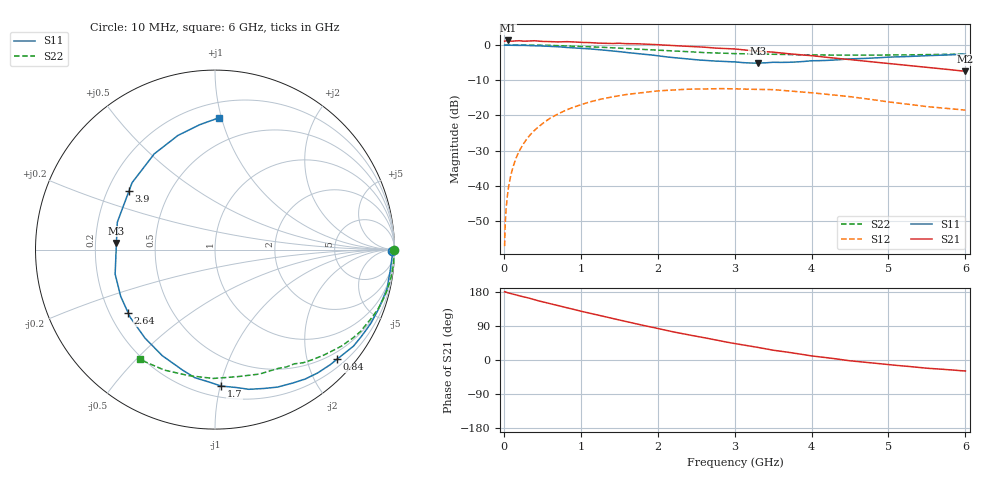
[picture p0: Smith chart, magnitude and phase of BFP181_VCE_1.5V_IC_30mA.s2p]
! Infineon Technologies  Discrete & RF Semiconductors
! BFP181
! VCE = 1.5 V,  IC =  30 mA
! Common Emitter S-Parameters:  Jan 2016
# GHz  S  MA  R  50
!  f  S11  S21  S12  S22
! GHz  MAG  ANG  MAG  ANG  MAG  ANG  MAG  ANG
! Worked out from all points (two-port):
!   210 points, 10 MHz to 6 GHz, reference 50 ohm
!   highest |S21| = 1.23 dB at 50 MHz (marker M1); lowest = -7.5 dB at 6 GHz (marker M2)
!   |S21| within 3 dB of the highest: start of sweep to 3.28 GHz
!   lowest |S11| = -5.2 dB at 3.3 GHz (marker M3), VSWR 3.45, Z = 14.5 + j1.52 ohm
!   |S11| at or under -10 dB: nowhere
!   |S22| runs from -2.9 to 0.0 dB; largest |S21 - S12| = 1.2
!   S11 on the Smith chart (normalised r, x): 10 MHz: open; 840 MHz: 0.35, -2.56; 1.7 GHz: 0.28, -1.01; 2.64 GHz: 0.28, -0.30; 3.9 GHz: 0.29, +0.29; 6 GHz: 0.31, +0.99
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0.01  0.9871 -0.6  1.124 179.9  0.0014 87.6  0.9997 -0.2
0.015  0.9867 -0.8  1.128 179.8  0.0023 87.7  0.9994 -0.3
0.025  0.9865 -1.3  1.136 179.3  0.004 89.3  0.9991 -0.6
0.05  0.9876 -2.3  1.152 177.5  0.0079 92.4  0.9985 -1.3
0.09  0.9848 -4.5  1.13 175.4  0.014 85.4  0.9984 -2.3
0.145  0.9831 -7.2  1.136 172.5  0.0226 83.9  0.9975 -3.6
0.2  0.9811 -10.0  1.142 169.4  0.0311 82.9  0.9978 -5.1
0.3  0.9771 -15.1  1.131 165.0  0.0466 78.9  0.995 -7.5
0.54  0.9559 -27.0  1.114 151.7  0.0819 69.5  0.9839 -13.6
0.84  0.9138 -42.0  1.106 136.7  0.1223 58.7  0.9634 -20.8
1.02  0.8906 -51.2  1.08 128.0  0.1435 52.5  0.9461 -24.9
1.3  0.8413 -65.6  1.054 115.0  0.1733 42.8  0.9199 -31.3
1.7  0.7611 -87.4  1.037 96.7  0.204 30.3  0.8722 -39.4
2.02  0.6944 -105.3  0.999 82.3  0.2227 21.2  0.8386 -45.1
2.64  0.599 -143.8  0.918 57.4  0.2369 4.7  0.7728 -55.9
3.1  0.5596 -171.9  0.85 40.1  0.236 -6.8  0.7459 -63.6
3.3  0.5504 176.2  0.812 33.3  0.2331 -11.1  0.7399 -66.9
3.9  0.5805 145.5  0.715 14.1  0.213 -22.7  0.7206 -78.0
4.1  0.596 137.2  0.682 8.5  0.2038 -26.0  0.7166 -82.1
4.5  0.6317 122.4  0.617 -2.1  0.1841 -32.1  0.7179 -90.7
5.1  0.6731 105.7  0.53 -14.1  0.1506 -35.4  0.7173 -104.0
6  0.7357 88.1  0.421 -29.1  0.1187 -29.8  0.7419 -124.4
